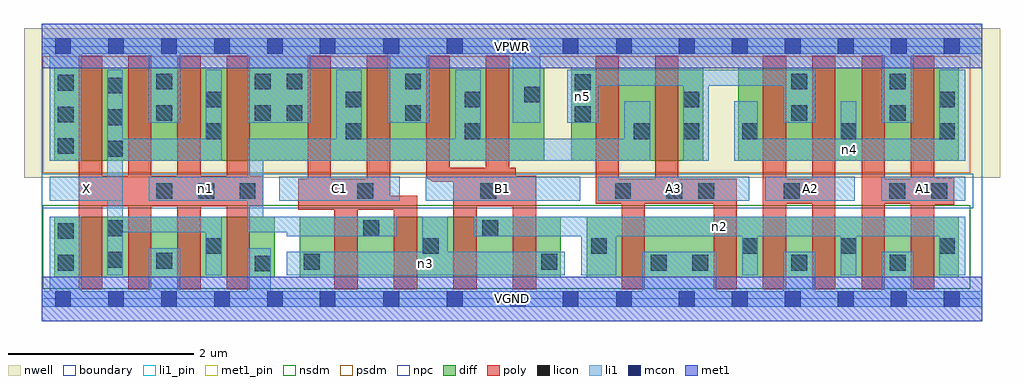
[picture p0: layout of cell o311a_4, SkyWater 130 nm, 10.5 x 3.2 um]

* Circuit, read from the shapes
.subckt o311a_4 A1 A2 A3 B1 C1 VGND VPWR X n1 n2 n3 n4 n5
XM1 X n1 VGND VSUBS sky130_fd_pr__nfet_01v8 w=0.65 l=0.25 m=4
XM2 n1 C1 n3 VSUBS sky130_fd_pr__nfet_01v8 w=0.65 l=0.25 m=2
XM3 n2 B1 n3 VSUBS sky130_fd_pr__nfet_01v8 w=0.65 l=0.25 m=2
XM4 VGND A3 n2 VSUBS sky130_fd_pr__nfet_01v8 w=0.65 l=0.25 m=2
XM5 VGND A2 n2 VSUBS sky130_fd_pr__nfet_01v8 w=0.65 l=0.25 m=2
XM6 VGND A1 n2 VSUBS sky130_fd_pr__nfet_01v8 w=0.65 l=0.25 m=2
XM7 X n1 VPWR n6 sky130_fd_pr__pfet_01v8 w=1 l=0.25 m=4
XM8 n1 C1 VPWR n6 sky130_fd_pr__pfet_01v8 w=1 l=0.25 m=2
XM9 n1 B1 VPWR n6 sky130_fd_pr__pfet_01v8 w=1 l=0.25 m=2
XM10 n1 A3 n5 n6 sky130_fd_pr__pfet_01v8 w=1 l=0.25 m=2
XM11 n5 A2 n4 n6 sky130_fd_pr__pfet_01v8 w=1 l=0.25 m=2
XM12 VPWR A1 n4 n6 sky130_fd_pr__pfet_01v8 w=1 l=0.25 m=2
.ends

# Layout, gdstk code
import gdstk
lib = gdstk.Library(unit=1e-6, precision=1e-09)
def R(c, l, rs):  # rectangles x0, y0, x1, y1
    for r in rs: c.add(gdstk.rectangle(r[:2], r[2:], *l))
def A(c, l, x, y, w, h, nx, ny, dx, dy):  # array of equal rectangles
    R(c, l, [(x+i*dx, y+j*dy, x+i*dx+w, y+j*dy+h) for i in range(nx) for j in range(ny)])
nwell = (64, 20)
diff = (65, 20)
poly = (66, 20)
licon = (66, 44)
li1_pin = (67, 16)
li1 = (67, 20)
mcon = (67, 44)
met1_pin = (68, 16)
met1 = (68, 20)
nsdm = (93, 44)
psdm = (94, 20)
npc = (95, 20)
boundary = (235, 4)

o311a_4 = lib.new_cell('o311a_4')
R(o311a_4, nwell, [(-0.19,1.305,10.31,2.91), (0,1.305,10.12,2.91)])
R(o311a_4, diff, [(0.135,0.235,2.505,0.885), (2.775,0.235,5.585,0.885), (5.865,0.235,9.865,0.885), (0.135,1.485,5.405,2.485), (5.695,1.485,7.115,2.485), (7.495,1.485,9.865,2.485)])
A(o311a_4, poly, 0.4, 0.105, 0.25, 2.51, 4, 1, 0.53, 0)
A(o311a_4, poly, 7.76, 0.105, 0.25, 2.51, 4, 1, 0.53, 0)
R(o311a_4, poly, [(3.15,0.105,3.4,1.295), (3.79,0.105,4.04,1.11), (4.43,0.105,4.68,1.41), (5.07,0.105,5.32,1.325), (6.24,0.105,6.49,1.295), (7.23,0.105,7.48,1.295), (2.76,0.96,3.75,1.295), (2.76,0.96,4.04,1.11), (2.86,0.96,3.11,2.615), (3.5,0.96,3.75,2.615), (0.4,0.995,2.385,1.325), (4.43,0.995,5.32,1.325), (4.78,0.995,5.03,2.615), (9.35,1.015,9.82,1.305), (5.96,1.025,7.48,1.295), (5.96,1.025,6.21,2.615), (6.6,1.025,6.85,2.615), (7.76,1.025,8.54,1.295), (8.82,1.025,9.82,1.295), (4.2,1.26,5.32,1.325), (4.195,1.265,5.32,1.325), (4.19,1.27,5.32,1.325), (4.18,1.275,5.32,1.325), (4.175,1.28,5.32,1.325), (4.17,1.285,5.32,1.325), (4.16,1.29,5.32,1.325), (4.15,1.295,5.32,1.325), (4.14,1.3,4.39,2.615), (4.14,1.3,5.1,1.41)])
A(o311a_4, licon, 7.535, 0.485, 0.17, 0.17, 3, 2, 1.06, 1.235)
A(o311a_4, licon, 0.705, 1.53, 0.17, 0.17, 1, 3, 0, 0.34)
A(o311a_4, licon, 0.175, 1.56, 0.17, 0.17, 1, 3, 0, 0.34)
R(o311a_4, licon, [(2.295,0.295,2.465,0.465), (0.175,0.305,0.345,0.475), (6.555,0.305,6.725,0.475), (7,0.305,7.17,0.475), (8.065,0.305,8.235,0.475), (9.125,0.305,9.295,0.475), (2.82,0.315,2.99,0.485), (5.375,0.315,5.545,0.485), (1.235,0.325,1.405,0.495), (0.705,0.335,0.875,0.505), (1.765,0.485,1.935,0.655), (4.1,0.485,4.27,0.655), (5.91,0.485,6.08,0.655), (0.175,0.645,0.345,0.815), (0.705,0.675,0.875,0.845), (3.46,0.675,3.63,0.845), (4.74,0.675,4.91,0.845), (1.235,1.075,1.405,1.245), (1.685,1.075,1.855,1.245), (2.13,1.075,2.3,1.245), (3.395,1.075,3.565,1.245), (4.72,1.075,4.89,1.245), (6.17,1.075,6.34,1.245), (6.72,1.075,6.89,1.245), (7.065,1.075,7.235,1.245), (7.985,1.075,8.155,1.245), (9.12,1.075,9.29,1.245), (9.57,1.075,9.74,1.245), (1.765,1.72,1.935,1.89), (3.27,1.72,3.44,1.89), (4.55,1.72,4.72,1.89), (6.37,1.72,6.54,1.89), (6.905,1.72,7.075,1.89), (5.735,1.905,5.905,2.075), (1.235,1.915,1.405,2.085), (2.295,1.915,2.465,2.085), (2.635,1.915,2.805,2.085), (3.91,1.915,4.08,2.085), (8.065,1.915,8.235,2.085), (9.125,1.915,9.295,2.085), (1.765,2.06,1.935,2.23), (3.27,2.06,3.44,2.23), (4.55,2.06,4.72,2.23), (6.905,2.06,7.075,2.23), (9.655,2.06,9.825,2.23), (5.19,2.115,5.36,2.285), (5.735,2.245,5.905,2.415), (1.235,2.255,1.405,2.425), (2.295,2.255,2.465,2.425), (2.635,2.255,2.805,2.425), (3.91,2.255,4.08,2.425), (8.065,2.255,8.235,2.425), (9.125,2.255,9.295,2.425)])
R(o311a_4, li1_pin, [(0.085,1.055,0.875,1.315), (2.555,1.055,3.855,1.315), (4.13,1.055,5.795,1.315), (5.98,1.055,7.61,1.315), (7.785,1.055,8.75,1.315), (9.035,1.055,9.935,1.315)])
R(o311a_4, li1, [(0,-0.085,10.12,0.085), (0.085,-0.085,0.43,0.885), (1.15,-0.085,1.49,0.545), (2.21,-0.085,2.465,0.545), (6.46,-0.085,7.26,0.505), (7.98,-0.085,8.32,0.505), (9.04,-0.085,9.38,0.505), (0.705,0.255,0.875,2.465), (1.765,0.255,1.935,0.885), (2.635,0.255,5.625,0.505), (4.095,0.255,4.37,0.885), (5.805,0.255,6.18,0.885), (7.535,0.255,7.705,0.885), (8.595,0.255,8.765,0.885), (9.655,0.255,9.935,0.885), (2.635,0.675,3.82,0.885), (4.65,0.675,9.935,0.885), (0.705,0.715,1.935,0.885), (2.21,0.715,3.82,0.885), (2.21,0.715,2.385,1.725), (0.085,1.055,0.875,1.315), (1.15,1.055,2.385,1.315), (2.555,1.055,3.855,1.315), (4.13,1.055,5.795,1.315), (5.98,1.055,7.61,1.315), (7.785,1.055,8.75,1.315), (9.035,1.055,9.935,1.315), (0.085,1.485,0.43,2.805), (0.705,1.485,1.935,1.725), (1.765,1.485,1.935,2.465), (2.21,1.485,6.545,1.725), (3.17,1.485,3.445,2.465), (4.45,1.485,4.725,2.465), (6.27,1.485,6.545,2.125), (6.905,1.485,7.175,2.465), (7.45,1.485,9.935,1.725), (7.45,1.485,7.705,2.125), (8.595,1.485,8.765,2.125), (9.655,1.485,9.935,2.465), (1.15,1.895,1.49,2.805), (2.21,1.895,2.89,2.805), (3.72,1.895,4.17,2.805), (5.07,1.895,5.365,2.805), (5.655,1.895,5.99,2.465), (7.98,1.895,8.32,2.465), (9.04,1.895,9.38,2.805), (5.655,2.295,8.32,2.465), (0,2.635,10.12,2.805)])
A(o311a_4, mcon, 0.145, -0.085, 0.17, 0.17, 5, 2, 0.57, 2.72)
A(o311a_4, mcon, 2.99, -0.085, 0.17, 0.17, 3, 2, 0.685, 2.72)
A(o311a_4, mcon, 6.855, -0.085, 0.17, 0.17, 6, 2, 0.57, 2.72)
R(o311a_4, mcon, [(5.04,-0.085,5.21,0.085), (5.605,-0.085,5.775,0.085), (6.18,-0.085,6.35,0.085), (5.04,2.635,5.21,2.805), (5.605,2.635,5.775,2.805), (6.18,2.635,6.35,2.805)])
R(o311a_4, met1_pin, [(0,-0.24,10.12,0.24), (0,2.48,10.12,2.96)])
R(o311a_4, met1, [(0,-0.24,10.12,0.24), (0,2.48,10.12,2.96)])
R(o311a_4, nsdm, [(0.01,0.11,9.99,1.01)])
R(o311a_4, psdm, [(0.01,1.36,9.99,2.61)])
R(o311a_4, npc, [(0,0.975,10.02,1.345)])
R(o311a_4, boundary, [(0,0,10.12,2.72)])
o311a_4.add(gdstk.Label('A1', (9.485,1.185), layer=67, texttype=5))
o311a_4.add(gdstk.Label('A2', (8.267,1.185), layer=67, texttype=5))
o311a_4.add(gdstk.Label('A3', (6.795,1.185), layer=67, texttype=5))
o311a_4.add(gdstk.Label('B1', (4.962,1.185), layer=67, texttype=5))
o311a_4.add(gdstk.Label('C1', (3.205,1.185), layer=67, texttype=5))
o311a_4.add(gdstk.Label('X', (0.48,1.185), layer=67, texttype=5))
o311a_4.add(gdstk.Label('n3', (4.13,0.38), layer=67, texttype=5))
o311a_4.add(gdstk.Label('n2', (7.292,0.78), layer=67, texttype=5))
o311a_4.add(gdstk.Label('n1', (1.767,1.185), layer=67, texttype=5))
o311a_4.add(gdstk.Label('n5', (5.822,2.18), layer=67, texttype=5))
o311a_4.add(gdstk.Label('n4', (8.692,1.605), layer=67, texttype=5))
o311a_4.add(gdstk.Label('VPWR', (5.06,2.72), layer=68, texttype=5))
o311a_4.add(gdstk.Label('VGND', (5.06,0), layer=68, texttype=5))
o311a_4.add(gdstk.Label('A1', (9.485,1.185), layer=67, texttype=16))
o311a_4.add(gdstk.Label('A2', (8.267,1.185), layer=67, texttype=16))
o311a_4.add(gdstk.Label('A3', (6.795,1.185), layer=67, texttype=16))
o311a_4.add(gdstk.Label('B1', (4.962,1.185), layer=67, texttype=16))
o311a_4.add(gdstk.Label('C1', (3.205,1.185), layer=67, texttype=16))
o311a_4.add(gdstk.Label('X', (0.48,1.185), layer=67, texttype=16))
o311a_4.add(gdstk.Label('VPWR', (5.06,2.72), layer=68, texttype=16))
o311a_4.add(gdstk.Label('VGND', (5.06,0), layer=68, texttype=16))

lib.write_gds('o311a_4.gds')
